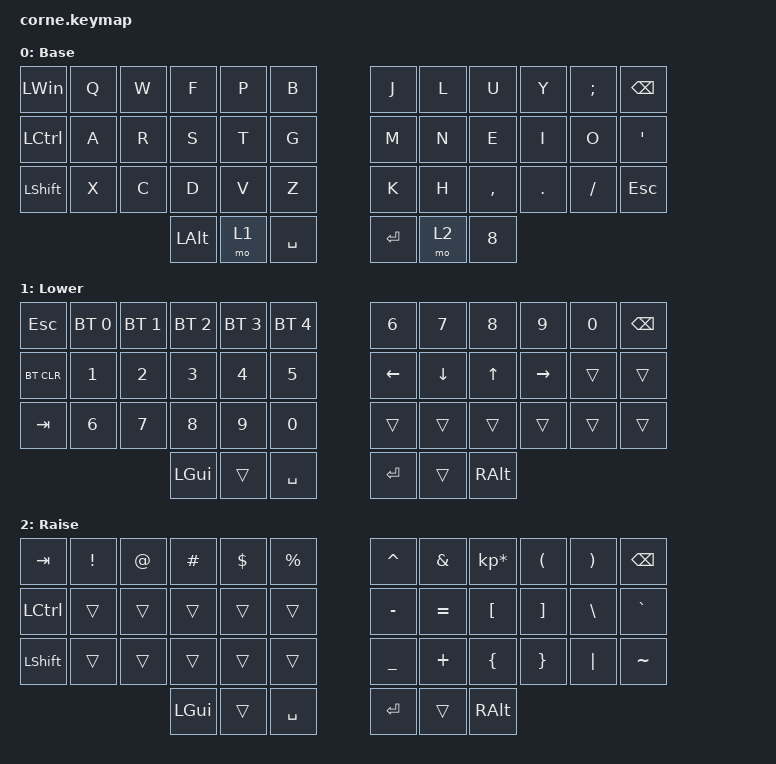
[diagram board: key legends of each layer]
/*
 * Copyright (c) 2020 The ZMK Contributors
 *
 * SPDX-License-Identifier: MIT
 */

#include <behaviors.dtsi>
#include <dt-bindings/zmk/bt.h>
#include <dt-bindings/zmk/keys.h>

/ {
    keymap {
        compatible = "zmk,keymap";

        default_layer {
            // -----------------------------------------------------------------------------------------
            // |  TAB |  Q  |  W  |  E  |  R  |  T  |   |  Y  |  U   |  I  |  O  |  P  | BKSP |
            // | CTRL |  A  |  S  |  D  |  F  |  G  |   |  H  |  J   |  K  |  L  |  ;  |  '   |
            // | SHFT |  Z  |  X  |  C  |  V  |  B  |   |  N  |  M   |  ,  |  .  |  /  | ESC  |
            //                    | GUI | LWR | SPC |   | ENT | RSE  | ALT |

            display-name = "Base";
            bindings = <
&kp LEFT_WIN  &kp Q  &kp W  &kp F         &kp P  &kp B        &kp J    &kp L  &kp U         &kp Y    &kp SEMICOLON  &kp BSPC
&kp LCTRL     &kp A  &kp R  &kp S         &kp T  &kp G        &kp M    &kp N  &kp E         &kp I    &kp O          &kp SQT
&kp LSHFT     &kp X  &kp C  &kp D         &kp V  &kp Z        &kp K    &kp H  &kp COMMA     &kp DOT  &kp FSLH       &kp ESC
                            &kp LEFT_ALT  &mo 1  &kp SPACE    &kp RET  &mo 2  &kp NUMBER_8
            >;
        };

        lower_layer {
            // -----------------------------------------------------------------------------------------
            // |  TAB |  1  |  2  |  3  |  4  |  5  |   |  6  |  7  |  8  |  9  |  0  | BKSP |
            // | BTCLR| BT1 | BT2 | BT3 | BT4 | BT5 |   | LFT | DWN |  UP | RGT |     |      |
            // | SHFT |     |     |     |     |     |   |     |     |     |     |     |      |
            //                    | GUI |     | SPC |   | ENT |     | ALT |

            display-name = "Lower";
            bindings = <
&kp ESC     &bt BT_SEL 0  &bt BT_SEL 1  &bt BT_SEL 2  &bt BT_SEL 3  &bt BT_SEL 4    &kp N6    &kp N7    &kp N8    &kp N9     &kp N0  &kp BSPC
&bt BT_CLR  &kp NUMBER_1  &kp NUMBER_2  &kp NUMBER_3  &kp NUMBER_4  &kp N5          &kp LEFT  &kp DOWN  &kp UP    &kp RIGHT  &trans  &trans
&kp TAB     &kp NUMBER_6  &kp N7        &kp NUMBER_8  &kp NUMBER_9  &kp NUMBER_0    &trans    &trans    &trans    &trans     &trans  &trans
                                        &kp LGUI      &trans        &kp SPACE       &kp RET   &trans    &kp RALT
            >;
        };

        raise_layer {
            // -----------------------------------------------------------------------------------------
            // |  TAB |  !  |  @  |  #  |  $  |  %  |   |  ^  |  &  |  *  |  (  |  )  | BKSP |
            // | CTRL |     |     |     |     |     |   |  -  |  =  |  [  |  ]  |  \  |  `   |
            // | SHFT |     |     |     |     |     |   |  _  |  +  |  {  |  }  | "|" |  ~   |
            //                    | GUI |     | SPC |   | ENT |     | ALT |

            display-name = "Raise";
            bindings = <
&kp TAB    &kp EXCL  &kp AT  &kp HASH  &kp DLLR  &kp PRCNT    &kp CARET  &kp AMPS   &kp KP_MULTIPLY  &kp LPAR  &kp RPAR  &kp BSPC
&kp LCTRL  &trans    &trans  &trans    &trans    &trans       &kp MINUS  &kp EQUAL  &kp LBKT         &kp RBKT  &kp BSLH  &kp GRAVE
&kp LSHFT  &trans    &trans  &trans    &trans    &trans       &kp UNDER  &kp PLUS   &kp LBRC         &kp RBRC  &kp PIPE  &kp TILDE
                             &kp LGUI  &trans    &kp SPACE    &kp RET    &trans     &kp RALT
            >;
        };

        extra_1 { status = "reserved"; };

        extra_2 { status = "reserved"; };

        extra_3 { status = "reserved"; };
    };
};
